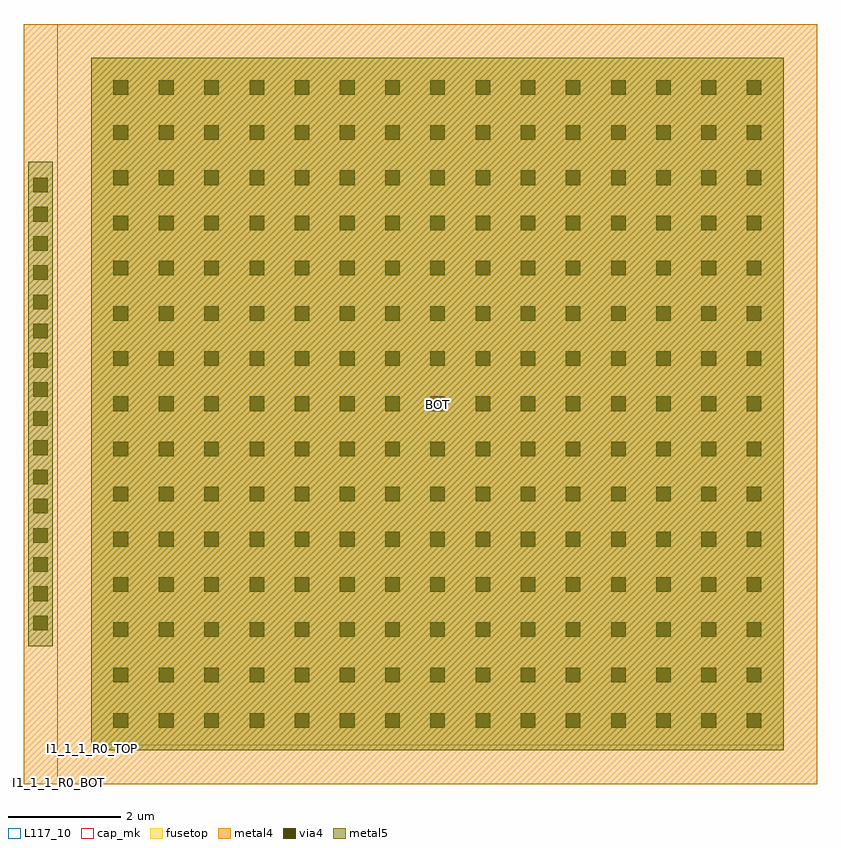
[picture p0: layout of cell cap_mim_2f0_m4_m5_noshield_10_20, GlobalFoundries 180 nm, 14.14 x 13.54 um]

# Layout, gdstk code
import gdstk
lib = gdstk.Library(unit=1e-6, precision=1e-09)
def R(c, l, rs):  # rectangles x0, y0, x1, y1
    for r in rs: c.add(gdstk.rectangle(r[:2], r[2:], *l))
def A(c, l, x, y, w, h, nx, ny, dx, dy):  # array of equal rectangles
    R(c, l, [(x+i*dx, y+j*dy, x+i*dx+w, y+j*dy+h) for i in range(nx) for j in range(ny)])
via4 = (41, 0)
metal4 = (46, 0)
fusetop = (75, 0)
metal5 = (81, 0)
cap_mk = (117, 5)
L117_10 = (117, 10)

cap_mim_2f0_m4_m5_noshie = lib.new_cell('cap_mim_2f0_m4_m5_noshield_10_20')
A(cap_mim_2f0_m4_m5_noshie, via4, 19.6, 118.4, 0.26, 0.26, 3, 3, 0.81, 0.81)
A(cap_mim_2f0_m4_m5_noshie, via4, 22.025, 118.4, 0.26, 0.26, 12, 3, 0.805, 0.81)
A(cap_mim_2f0_m4_m5_noshie, via4, 18.17, 120.14, 0.26, 0.26, 1, 16, 0, 0.52)
A(cap_mim_2f0_m4_m5_noshie, via4, 19.6, 120.825, 0.26, 0.26, 3, 12, 0.81, 0.805)
A(cap_mim_2f0_m4_m5_noshie, via4, 22.025, 120.825, 0.26, 0.26, 12, 12, 0.805, 0.805)
R(cap_mim_2f0_m4_m5_noshie, metal4, [(18,117.4,18.6,130.94), (18.6,117.4,32.14,130.94)])
R(cap_mim_2f0_m4_m5_noshie, fusetop, [(19.2,118,31.54,130.34)])
R(cap_mim_2f0_m4_m5_noshie, metal5, [(19.2,118,31.54,130.34), (18.08,119.855,18.52,128.485)])
R(cap_mim_2f0_m4_m5_noshie, cap_mk, [(18.6,117.4,32.14,130.94)])
R(cap_mim_2f0_m4_m5_noshie, L117_10, [(19.2,118,31.54,118.1)])
cap_mim_2f0_m4_m5_noshie.add(gdstk.Label('BOT', (25.37,124.17), layer=46, texttype=0))
cap_mim_2f0_m4_m5_noshie.add(gdstk.Label('TOP', (25.37,124.17), layer=81, texttype=0))
cap_mim_2f0_m4_m5_noshie.add(gdstk.Label('I1_1_1_R0_BOT', (18.625,117.425), layer=46, texttype=10))
cap_mim_2f0_m4_m5_noshie.add(gdstk.Label('I1_1_1_R0_TOP', (19.225,118.025), layer=81, texttype=10))

lib.write_gds('cap_mim_2f0_m4_m5_noshield_10_20.gds')
